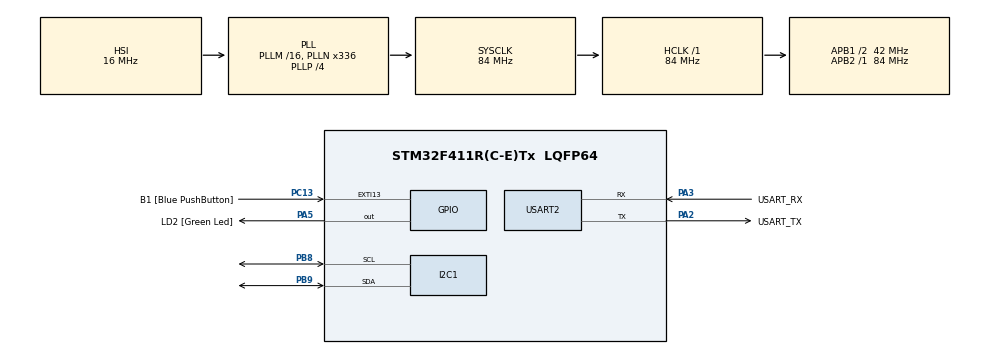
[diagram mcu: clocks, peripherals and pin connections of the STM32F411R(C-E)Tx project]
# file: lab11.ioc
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Mcu.Family=STM32F4
PC15-OSC32_OUT.Mode=LSE-External-Oscillator
RCC.CortexFreq_Value=84000000
NVIC.I2C1_EV_IRQn=true\:0\:0\:false\:false\:true\:true\:true
PC13-ANTI_TAMP.GPIO_Label=B1 [Blue PushButton]
PA14.GPIO_Label=TCK
PH1\ -\ OSC_OUT.Mode=HSE-External-Clock-Source
RCC.APB1CLKDivider=RCC_HCLK_DIV2
PC14-OSC32_IN.Signal=RCC_OSC32_IN
RCC.SYSCLKSource=RCC_SYSCLKSOURCE_PLLCLK
ProjectManager.StackSize=0x400
PA13.Signal=SYS_JTMS-SWDIO
PA3.Mode=Asynchronous
PH0\ -\ OSC_IN.Mode=HSE-External-Clock-Source
PH0\ -\ OSC_IN.Signal=RCC_OSC_IN
ProjectManager.TargetToolchain=STM32CubeIDE
I2C1.I2C_Mode=I2C_Fast
RCC.HCLKFreq_Value=84000000
PB9.Mode=I2C
RCC.APB2TimFreq_Value=84000000
PC15-OSC32_OUT.Signal=RCC_OSC32_OUT
RCC.AHBFreq_Value=84000000
PA5.Signal=GPIO_Output
RCC.HSE_VALUE=8000000
PH1\ -\ OSC_OUT.Signal=RCC_OSC_OUT
board=NUCLEO-F411RE
PC13-ANTI_TAMP.Signal=GPXTI13
RCC.VCOOutputFreq_Value=336000000
RCC.APB2Freq_Value=84000000
PC14-OSC32_IN.Mode=LSE-External-Oscillator
PA14.Mode=Serial_Wire
PA13.Mode=Serial_Wire
NVIC.I2C1_ER_IRQn=true\:0\:0\:false\:false\:true\:true\:true
Mcu.Name=STM32F411R(C-E)Tx
PA2.Signal=USART2_TX
PA13.GPIO_Label=TMS
RCC.FLatency-AdvancedSettings=FLASH_LATENCY_2
RCC.48MHZClocksFreq_Value=84000000
PB3.Signal=SYS_JTDO-SWO
RCC.SYSCLKFreq_VALUE=84000000
Mcu.Package=LQFP64
PB9.Signal=I2C1_SDA
PA5.GPIO_Label=LD2 [Green Led]
USART2.VirtualMode=VM_ASYNC
PC13-ANTI_TAMP.GPIO_ModeDefaultEXTI=GPIO_MODE_IT_FALLING
PA2.GPIO_Label=USART_TX
PA14.Signal=SYS_JTCK-SWCLK
ProjectManager.HeapSize=0x200
RCC.HSI_VALUE=16000000
RCC.PLLP=RCC_PLLP_DIV4
NVIC.PriorityGroup=NVIC_PRIORITYGROUP_0
PB8.Mode=I2C
RCC.PLLN=336
RCC.APB1TimFreq_Value=84000000
PA2.Mode=Asynchronous
PB8.Signal=I2C1_SCL
RCC.APB1Freq_Value=42000000
PA3.GPIO_Label=USART_RX
PA3.Signal=USART2_RX
PB3.GPIO_Label=SWO

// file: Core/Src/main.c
/* USER CODE BEGIN Header */
/**
 ******************************************************************************
 * @file           : main.c
 * @brief          : Main program body
 ******************************************************************************
 * @attention
 *
 * <h2><center>&copy; Copyright (c) 2021 STMicroelectronics.
 * All rights reserved.</center></h2>
 *
 * This software component is licensed by ST under BSD 3-Clause license,
 * the "License"; You may not use this file except in compliance with the
 * License. You may obtain a copy of the License at:
 *                        opensource.org/licenses/BSD-3-Clause
 *
 ******************************************************************************
 */
/* USER CODE END Header */
#include "main.h"

/* USER CODE BEGIN PD */
#define EEPROM_ADDR 0b10100000
#define IOEXPD_ADDR 0b01000000
/* USER CODE END PD */

I2C_HandleTypeDef hi2c1;

UART_HandleTypeDef huart2;

/* USER CODE BEGIN PV */
uint8_t eepromExampleWriteFlag = 0;
uint8_t eepromExampleReadFlag = 0;
uint8_t IOExpdrExampleWriteFlag = 0;
uint8_t IOExpdrExampleReadFlag = 0;
uint8_t eepromDataReadBack[4];
uint8_t IOExpdrDataReadBack;
uint8_t IOExpdrDataWrite = 0;
int Button[2]={0};
uint8_t Rdata=0;
uint8_t data=0;
int A = 0;
/* USER CODE END PV */
void SystemClock_Config(void);
static void MX_GPIO_Init(void);
static void MX_USART2_UART_Init(void);
static void MX_I2C1_Init(void);
/* USER CODE BEGIN PFP */
void EEPROMWriteBack();
//void EEPROMReadExample(uint8_t *Rdata, uint16_t len);
//
void IOExpenderInit();
//void IOExpenderReadPinA(uint8_t *Rdata);
//void IOExpenderWritePinB(uint8_t Wdata);

/* USER CODE END PFP */

int main(void)
{

  /* MCU Configuration--------------------------------------------------------*/

  /* Reset of all peripherals, Initializes the Flash interface and the Systick. */
  HAL_Init();

  /* Configure the system clock */
  SystemClock_Config();

  /* Initialize all configured peripherals */
  MX_GPIO_Init();
  MX_USART2_UART_Init();
  MX_I2C1_Init();
  /* USER CODE BEGIN 2 */
  HAL_Delay(100);
  IOExpenderInit();
  /* USER CODE END 2 */

  /* Infinite loop */
  /* USER CODE BEGIN WHILE */
	while (1) {
		Button[0] = HAL_GPIO_ReadPin(GPIOC, GPIO_PIN_13);
		if(Button[0] ==  0 && Button[1]== 1)
		{
			IOExpdrExampleReadFlag=1;
			eepromExampleWriteFlag=1;
			A = 1;
		}
		if(Button[0] ==  1 && Button[1]==0 )
		{
			eepromExampleReadFlag=1;
			IOExpdrExampleWriteFlag=1;
		}
		Button[1] = Button[0];
//				EEPROMWriteBack();
		if (eepromExampleWriteFlag && hi2c1.State == HAL_I2C_STATE_READY) {

				HAL_I2C_Mem_Write_IT(&hi2c1, EEPROM_ADDR, 0x52, I2C_MEMADD_SIZE_16BIT,
						&Rdata, 1);
//				HAL_I2C_Mem_Read_IT(&hi2c1, IOEXPD_ADDR, 0x12, I2C_MEMADD_SIZE_8BIT,&IOExpdrDataReadBack, 1);
				eepromExampleWriteFlag = 0;
			}
		if (eepromExampleReadFlag && hi2c1.State == HAL_I2C_STATE_READY) {

				HAL_I2C_Mem_Read_IT(&hi2c1, EEPROM_ADDR, 0x52, I2C_MEMADD_SIZE_16BIT,
						&data, 1);
//				HAL_I2C_Mem_Read_IT(&hi2c1, EEPROM_ADDR, 0x52, I2C_MEMADD_SIZE_16BIT,&IOExpdrDataWrite, 1);
				eepromExampleReadFlag = 0;
			}
		if (IOExpdrExampleReadFlag && hi2c1.State == HAL_I2C_STATE_READY) {
				HAL_I2C_Mem_Read_IT(&hi2c1, IOEXPD_ADDR, 0x12, I2C_MEMADD_SIZE_8BIT,
						&Rdata, 1);
//				HAL_I2C_Mem_Read_IT(&hi2c1, IOEXPD_ADDR, 0x12, I2C_MEMADD_SIZE_8BIT,&IOExpdrDataReadBack, 1);
				IOExpdrExampleReadFlag =0;
			}
		if (IOExpdrExampleWriteFlag && hi2c1.State == HAL_I2C_STATE_READY) {;
				HAL_I2C_Mem_Write_IT(&hi2c1, IOEXPD_ADDR, 0x15, I2C_MEMADD_SIZE_8BIT,
						&data, 1);
//				HAL_I2C_Mem_Write_IT(&hi2c1, IOEXPD_ADDR, 0x15, I2C_MEMADD_SIZE_8BIT,&IOExpdrDataWrite, 1);
				IOExpdrExampleWriteFlag=0;
			}
		}
//		if(Button[0] ==  0 && Button[0]== 1)
//		{
//			IOExpdrExampleReadFlag=1;
//			eepromExampleWriteFlag=1;
//			eepromExampleReadFlag=1;
//			IOExpdrExampleWriteFlag=1;

//			HAL_I2C_Mem_Read_IT(&hi2c1, IOEXPD_ADDR, 0x12, I2C_MEMADD_SIZE_8BIT,&IOExpdrDataReadBack, 1);
//			HAL_Delay(100);
//			HAL_I2C_Mem_Read_IT(&hi2c1, IOEXPD_ADDR, 0x12, I2C_MEMADD_SIZE_8BIT,&IOExpdrDataReadBack, 1);
//			HAL_Delay(100);
//			HAL_I2C_Mem_Read_IT(&hi2c1, EEPROM_ADDR, 0x52, I2C_MEMADD_SIZE_16BIT,&IOExpdrDataWrite, 1);
//			HAL_Delay(100);
//			HAL_I2C_Mem_Write_IT(&hi2c1, IOEXPD_ADDR, 0x15, I2C_MEMADD_SIZE_8BIT,&IOExpdrDataWrite, 1);
//			HAL_Delay(100);
//		}
//		else if(Button[0] ==  1 && Button[1]==0 )
//		{
//			eepromExampleReadFlag=1;
//			IOExpdrExampleWriteFlag=1;
//		}
//		Button[1] = Button[0];
//		EEPROMWriteBack();
//		EEPROMWriteExample();
//		EEPROMWriteExample();
//		EEPROMReadExample(eepromDataReadBack, 4);
//
//		IOExpenderReadPinA(&IOExpdrDataReadBack);
//		IOExpenderWritePinB(IOExpdrDataWrite);

    /* USER CODE END WHILE */

	}

void SystemClock_Config(void)
{
  RCC_OscInitTypeDef RCC_OscInitStruct = {0};
  RCC_ClkInitTypeDef RCC_ClkInitStruct = {0};

  /** Configure the main internal regulator output voltage
  */
  __HAL_RCC_PWR_CLK_ENABLE();
  __HAL_PWR_VOLTAGESCALING_CONFIG(PWR_REGULATOR_VOLTAGE_SCALE1);
  /** Initializes the RCC Oscillators according to the specified parameters
  * in the RCC_OscInitTypeDef structure.
  */
  RCC_OscInitStruct.OscillatorType = RCC_OSCILLATORTYPE_HSI;
  RCC_OscInitStruct.HSIState = RCC_HSI_ON;
  RCC_OscInitStruct.HSICalibrationValue = RCC_HSICALIBRATION_DEFAULT;
  RCC_OscInitStruct.PLL.PLLState = RCC_PLL_ON;
  RCC_OscInitStruct.PLL.PLLSource = RCC_PLLSOURCE_HSI;
  RCC_OscInitStruct.PLL.PLLM = 16;
  RCC_OscInitStruct.PLL.PLLN = 336;
  RCC_OscInitStruct.PLL.PLLP = RCC_PLLP_DIV4;
  RCC_OscInitStruct.PLL.PLLQ = 4;
  if (HAL_RCC_OscConfig(&RCC_OscInitStruct) != HAL_OK)
  {
    Error_Handler();
  }
  /** Initializes the CPU, AHB and APB buses clocks
  */
  RCC_ClkInitStruct.ClockType = RCC_CLOCKTYPE_HCLK|RCC_CLOCKTYPE_SYSCLK
                              |RCC_CLOCKTYPE_PCLK1|RCC_CLOCKTYPE_PCLK2;
  RCC_ClkInitStruct.SYSCLKSource = RCC_SYSCLKSOURCE_PLLCLK;
  RCC_ClkInitStruct.AHBCLKDivider = RCC_SYSCLK_DIV1;
  RCC_ClkInitStruct.APB1CLKDivider = RCC_HCLK_DIV2;
  RCC_ClkInitStruct.APB2CLKDivider = RCC_HCLK_DIV1;

  if (HAL_RCC_ClockConfig(&RCC_ClkInitStruct, FLASH_LATENCY_2) != HAL_OK)
  {
    Error_Handler();
  }
}

static void MX_I2C1_Init(void)
{

  hi2c1.Instance = I2C1;
  hi2c1.Init.ClockSpeed = 400000;
  hi2c1.Init.DutyCycle = I2C_DUTYCYCLE_2;
  hi2c1.Init.OwnAddress1 = 0;
  hi2c1.Init.AddressingMode = I2C_ADDRESSINGMODE_7BIT;
  hi2c1.Init.DualAddressMode = I2C_DUALADDRESS_DISABLE;
  hi2c1.Init.OwnAddress2 = 0;
  hi2c1.Init.GeneralCallMode = I2C_GENERALCALL_DISABLE;
  hi2c1.Init.NoStretchMode = I2C_NOSTRETCH_DISABLE;
  if (HAL_I2C_Init(&hi2c1) != HAL_OK)
  {
    Error_Handler();
  }

}

static void MX_USART2_UART_Init(void)
{

  huart2.Instance = USART2;
  huart2.Init.BaudRate = 115200;
  huart2.Init.WordLength = UART_WORDLENGTH_8B;
  huart2.Init.StopBits = UART_STOPBITS_1;
  huart2.Init.Parity = UART_PARITY_NONE;
  huart2.Init.Mode = UART_MODE_TX_RX;
  huart2.Init.HwFlowCtl = UART_HWCONTROL_NONE;
  huart2.Init.OverSampling = UART_OVERSAMPLING_16;
  if (HAL_UART_Init(&huart2) != HAL_OK)
  {
    Error_Handler();
  }

}

static void MX_GPIO_Init(void)
{
  GPIO_InitTypeDef GPIO_InitStruct = {0};

  /* GPIO Ports Clock Enable */
  __HAL_RCC_GPIOC_CLK_ENABLE();
  __HAL_RCC_GPIOH_CLK_ENABLE();
  __HAL_RCC_GPIOA_CLK_ENABLE();
  __HAL_RCC_GPIOB_CLK_ENABLE();

  /*Configure GPIO pin Output Level */
  HAL_GPIO_WritePin(LD2_GPIO_Port, LD2_Pin, GPIO_PIN_RESET);

  /*Configure GPIO pin : B1_Pin */
  GPIO_InitStruct.Pin = B1_Pin;
  GPIO_InitStruct.Mode = GPIO_MODE_IT_FALLING;
  GPIO_InitStruct.Pull = GPIO_NOPULL;
  HAL_GPIO_Init(B1_GPIO_Port, &GPIO_InitStruct);

  /*Configure GPIO pin : LD2_Pin */
  GPIO_InitStruct.Pin = LD2_Pin;
  GPIO_InitStruct.Mode = GPIO_MODE_OUTPUT_PP;
  GPIO_InitStruct.Pull = GPIO_NOPULL;
  GPIO_InitStruct.Speed = GPIO_SPEED_FREQ_LOW;
  HAL_GPIO_Init(LD2_GPIO_Port, &GPIO_InitStruct);

}

/* USER CODE BEGIN 4 */
void EEPROMWriteBack()
{
	HAL_I2C_Mem_Read_IT(&hi2c1, EEPROM_ADDR, 0x52, I2C_MEMADD_SIZE_16BIT,&IOExpdrDataWrite, 1);
	HAL_Delay(100);
	HAL_I2C_Mem_Write_IT(&hi2c1, IOEXPD_ADDR, 0x15, I2C_MEMADD_SIZE_8BIT,&IOExpdrDataWrite, 1);
	HAL_Delay(100);
}
//void EEPROMWriteExample() {
//	if (eepromExampleWriteFlag && hi2c1.State == HAL_I2C_STATE_READY) {
//
//		static uint8_t data[4] = { 0xff, 0x00, 0x55, 0xaa };
//		HAL_I2C_Mem_Write_IT(&hi2c1, EEPROM_ADDR, 0x2C, I2C_MEMADD_SIZE_16BIT,
//				data, 4);
//
//
//
//		eepromExampleWriteFlag = 0;
//	}
//	HAL_I2C_Mem_Read_IT(&hi2c1, EEPROM_ADDR, 0x52, I2C_MEMADD_SIZE_16BIT,&IOExpdrDataWrite, 1);
//	HAL_Delay(100);
//	HAL_I2C_Mem_Write_IT(&hi2c1, IOEXPD_ADDR, 0x15, I2C_MEMADD_SIZE_8BIT,&IOExpdrDataWrite, 1);
//	HAL_Delay(100);
//}
//void EEPROMReadExample(uint8_t *Rdata, uint16_t len) {
//	if (eepromExampleReadFlag && hi2c1.State == HAL_I2C_STATE_READY) {
//
//		HAL_I2C_Mem_Read_IT(&hi2c1, EEPROM_ADDR, 0x2c, I2C_MEMADD_SIZE_16BIT,
//				Rdata, len);
//		eepromExampleReadFlag = 0;
//	}
//}
void IOExpenderInit() {
	//Init All
	static uint8_t Setting[0x16] = { 0xFF, 0x00, 0x00, 0x00, 0x00, 0x00, 0x00,
			0x00, 0x00, 0x00, 0x00, 0x00, 0xFF, 0x00, 0x00, 0x00, 0x00, 0x00,
			0x00, 0x00, 0x00, 0x00 };
	HAL_I2C_Mem_Write(&hi2c1, IOEXPD_ADDR, 0x00, I2C_MEMADD_SIZE_8BIT, Setting,
			0x16, 100);
}
//void IOExpenderReadPinA(uint8_t *Rdata) {
//	if (IOExpdrExampleReadFlag && hi2c1.State == HAL_I2C_STATE_READY) {
//		HAL_I2C_Mem_Read_IT(&hi2c1, IOEXPD_ADDR, 0x12, I2C_MEMADD_SIZE_8BIT,
//				Rdata, 1);
//		IOExpdrExampleReadFlag =0;
//	}
//}
//void IOExpenderWritePinB(uint8_t Wdata) {
//	if (IOExpdrExampleWriteFlag && hi2c1.State == HAL_I2C_STATE_READY) {
//		static uint8_t data;
//		data = Wdata;
//		HAL_I2C_Mem_Write_IT(&hi2c1, IOEXPD_ADDR, 0x15, I2C_MEMADD_SIZE_8BIT,
//				&data, 1);
//		IOExpdrExampleWriteFlag=0;
//	}
//}
/* USER CODE END 4 */

void Error_Handler(void)
{
	__disable_irq();
	while (1) {
	}
}

/************************ (C) COPYRIGHT STMicroelectronics *****END OF FILE****/
